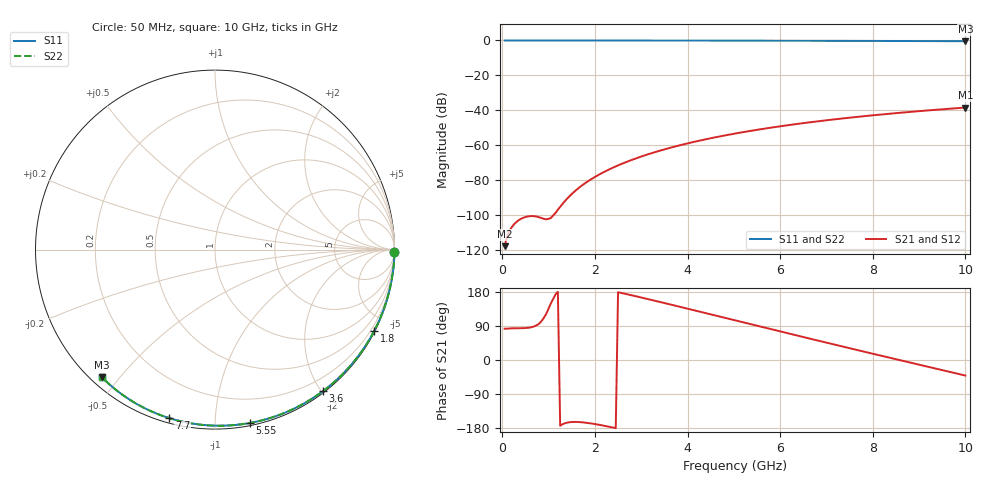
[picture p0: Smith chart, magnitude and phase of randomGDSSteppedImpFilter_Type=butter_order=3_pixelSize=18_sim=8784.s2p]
! freq	dB(S11)	phase(S11)	dB(S12)	phase(S12)
!  dB(S21)	phase(S21)	dB(S22)	phase(S22)
!S-par simulation data
#  GHz  S  DB  R 50
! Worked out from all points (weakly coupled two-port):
!   200 points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, 50 MHz to 10 GHz, reference 50 ohm
!   highest |S21| = -38.37 dB at 10 GHz (marker M1); lowest = -117.6 dB at 50 MHz (marker M2)
!   lowest |S11| = -0.4 dB at 10 GHz (marker M3), VSWR 39.18, Z = 1.53 - j22.5 ohm
!   |S11| at or under -10 dB: nowhere
!   |S22| runs from -0.4 to 0.0 dB; largest |S21 - S12| = 0
!   S11 on the Smith chart (normalised r, x): 50 MHz: open; 1.8 GHz: 0.04, -4.17; 3.6 GHz: 0.02, -2.02; 5.55 GHz: 0.02, -1.22; 7.7 GHz: 0.02, -0.77; 10 GHz: 0.03, -0.45
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0.05  -0.00 -0.8  -117.60 82.6  -117.60 82.6  -0.00 -0.8
0.9  -0.02 -13.6  -101.97 111.9  -101.97 111.9  -0.02 -13.6
1.75  -0.03 -26.2  -82.31 -164.7  -82.31 -164.7  -0.03 -26.2
1.8  -0.03 -27.0  -81.38 -165.4  -81.38 -165.4  -0.03 -26.9
1.85  -0.04 -27.7  -80.49 -166.2  -80.49 -166.2  -0.04 -27.7
1.9  -0.04 -28.4  -79.64 -167.1  -79.64 -167.1  -0.04 -28.4
2.05  -0.04 -30.6  -77.26 -170.1  -77.26 -170.1  -0.04 -30.6
2.25  -0.04 -33.5  -74.46 -174.7  -74.46 -174.7  -0.04 -33.5
2.45  -0.05 -36.4  -71.99 -179.8  -71.99 -179.8  -0.05 -36.4
2.65  -0.05 -39.3  -69.77 174.8  -69.77 174.8  -0.05 -39.3
3  -0.06 -44.3  -66.36 164.9  -66.36 164.9  -0.06 -44.3
3.4  -0.07 -49.9  -63.03 153.3  -63.03 153.3  -0.07 -49.9
3.6  -0.07 -52.7  -61.54 147.4  -61.54 147.4  -0.07 -52.7
4.3  -0.09 -62.3  -57.03 126.5  -57.03 126.5  -0.09 -62.3
5.05  -0.11 -72.3  -53.10 103.9  -53.10 103.9  -0.11 -72.2
5.55  -0.13 -78.7  -50.87 88.9  -50.87 88.9  -0.13 -78.7
6.1  -0.15 -85.7  -48.69 72.5  -48.69 72.5  -0.15 -85.7
6.7  -0.18 -93.1  -46.59 54.7  -46.59 54.7  -0.18 -93.1
7.7  -0.24 -105.1  -43.59 25.3  -43.59 25.3  -0.24 -105.1
8.35  -0.29 -112.7  -41.91 6.4  -41.91 6.4  -0.29 -112.7
9.15  -0.36 -121.9  -40.08 -16.7  -40.08 -16.7  -0.36 -121.9
10  -0.44 -131.5  -38.37 -41.0  -38.37 -41.0  -0.44 -131.5
